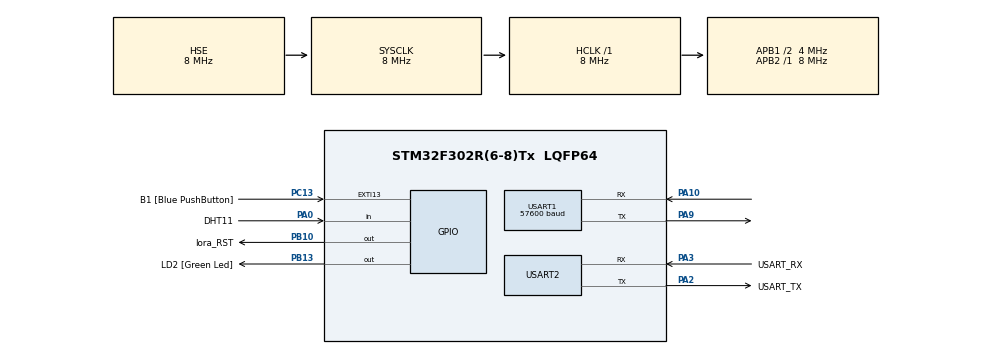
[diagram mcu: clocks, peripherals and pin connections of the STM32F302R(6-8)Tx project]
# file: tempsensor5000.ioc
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Mcu.Family=STM32F3
Mcu.Name=STM32F302R(6-8)Tx
Mcu.Package=LQFP64
NVIC.PriorityGroup=NVIC_PRIORITYGROUP_0
NVIC.RTC_WKUP_IRQn=true\:0\:0\:false\:false\:true\:true\:true\:true
PA0.GPIO_Label=DHT11
PA0.GPIO_PuPd=GPIO_PULLUP
PA0.Signal=GPIO_Input
PA10.Mode=Asynchronous
PA10.Signal=USART1_RX
PA13.GPIO_Label=TMS
PA13.Mode=Serial_Wire
PA13.Signal=SYS_JTMS-SWDIO
PA14.GPIO_Label=TCK
PA14.Mode=Serial_Wire
PA14.Signal=SYS_JTCK-SWCLK
PA2.GPIO_Label=USART_TX
PA2.GPIO_Mode=GPIO_MODE_AF_PP
PA2.GPIO_PuPd=GPIO_NOPULL
PA2.GPIO_Speed=GPIO_SPEED_FREQ_LOW
PA2.Mode=Asynchronous
PA2.Signal=USART2_TX
PA3.GPIO_Label=USART_RX
PA3.GPIO_Mode=GPIO_MODE_AF_PP
PA3.GPIO_PuPd=GPIO_NOPULL
PA3.GPIO_Speed=GPIO_SPEED_FREQ_LOW
PA3.Mode=Asynchronous
PA3.Signal=USART2_RX
PA9.Mode=Asynchronous
PA9.Signal=USART1_TX
PB10.GPIO_Label=lora_RST
PB10.Signal=GPIO_Output
PB13.GPIO_Label=LD2 [Green Led]
PB13.Signal=GPIO_Output
PB3.GPIO_Label=SWO
PB3.Mode=Trace_Asynchronous_SW
PB3.Signal=SYS_JTDO-TRACESWO
PC13.GPIO_Label=B1 [Blue PushButton]
PC13.GPIO_ModeDefaultEXTI=GPIO_MODE_IT_FALLING
PC13.Signal=GPXTI13
PC14\ -\ OSC32_IN.Mode=LSE-External-Oscillator
PC14\ -\ OSC32_IN.Signal=RCC_OSC32_IN
PC15\ -\ OSC32_OUT.Mode=LSE-External-Oscillator
PC15\ -\ OSC32_OUT.Signal=RCC_OSC32_OUT
PF0-OSC_IN.Mode=HSE-External-Clock-Source
PF0-OSC_IN.Signal=RCC_OSC_IN
PF1-OSC_OUT.Signal=RCC_OSC_OUT
ProjectManager.HeapSize=0x200
ProjectManager.StackSize=0x400
ProjectManager.TargetToolchain=CMake
RCC.AHBFreq_Value=8000000
RCC.APB1CLKDivider=RCC_HCLK_DIV2
RCC.APB1Freq_Value=4000000
RCC.APB1TimFreq_Value=8000000
RCC.APB2Freq_Value=8000000
RCC.APB2TimFreq_Value=8000000
RCC.CortexFreq_Value=8000000
RCC.HCLKFreq_Value=8000000
RCC.HSE_VALUE=8000000
RCC.HSI_VALUE=8000000
RCC.PLLM=8
RCC.PLLMUL=RCC_PLL_MUL16
RCC.PLLN=336
RCC.PLLP=RCC_PLLP_DIV4
RCC.PLLQ=7
RCC.PLLSourceVirtual=RCC_PLLSOURCE_HSE
RCC.RCC_PLLsource_Clock_Source_FROM_HSE=RCC_HSE_PREDIV_DIV2
RCC.SYSCLKFreq_VALUE=8000000
RCC.SYSCLKSourceVirtual=RCC_SYSCLKSOURCE_HSE
RCC.USBFreq_Value=64000000
RTC.WakeUpClock-WakeUp=RTC_WAKEUPCLOCK_CK_SPRE_16BITS
RTC.WakeUpCounter-WakeUp=19
TIM6.Prescaler=7
USART1.BaudRate=57600
USART1.VirtualMode-Asynchronous=VM_ASYNC
USART2.VirtualMode-Asynchronous=VM_ASYNC
VP_RTC_VS_RTC_Activate.Mode=RTC_Enabled
VP_RTC_VS_RTC_WakeUp_intern.Mode=WakeUp
VP_TIM6_VS_ClockSourceINT.Mode=Enable_Timer
board=NUCLEO-F302R8

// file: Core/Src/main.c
/* USER CODE BEGIN Header */
/**
  ******************************************************************************
  * @file           : main.c
  * @brief          : Main program body
  ******************************************************************************
  * @attention
  *
  * Copyright (c) 2025 STMicroelectronics.
  * All rights reserved.
  *
  * This software is licensed under terms that can be found in the LICENSE file
  * in the root directory of this software component.
  * If no LICENSE file comes with this software, it is provided AS-IS.
  *
  ******************************************************************************
  */
/* USER CODE END Header */
#include "main.h"
#include "rtc.h"
#include "tim.h"
#include "usart.h"
#include "gpio.h"

/* USER CODE BEGIN Includes */
#include "lora.h"
#include "sensor.h"
#include <stdio.h>
#include <string.h>

/* USER CODE END Includes */

/* USER CODE BEGIN PV */
uint8_t response = 0; // Variable to store the response from the DHT11 sensor
char msg[50]; // Buffer to store the message to be sent via UART
uint8_t payload[2]; // Buffer to store the data read from the DHT11 sensor
/* USER CODE END PV */

void SystemClock_Config(void);

int main(void)
{

  /* MCU Configuration--------------------------------------------------------*/

  /* Reset of all peripherals, Initializes the Flash interface and the Systick. */
  HAL_Init();

  /* Configure the system clock */
  SystemClock_Config();

  /* Initialize all configured peripherals */
  MX_GPIO_Init();
  MX_USART2_UART_Init();
  MX_USART1_UART_Init();
  MX_TIM6_Init();
  MX_RTC_Init();
  /* USER CODE BEGIN 2 */
  HAL_NVIC_DisableIRQ(RTC_WKUP_IRQn);
  if (Lora_SetupAndJoinOTAA(&huart1, lora_RST_GPIO_Port, lora_RST_Pin) == HAL_OK) {
    // Device is now connected and ready to send data
  }
  HAL_TIM_Base_Start(&htim6); // Start the timer

  /* USER CODE END 2 */

  /* Infinite loop */
  while (1)
  {

    /* USER CODE BEGIN 3 */

    response = startSensor(DHT11_GPIO_Port, DHT11_Pin); // Start the DHT11 sensor
    if(response == 1){
      ReadDHT11Data(DHT11_GPIO_Port, DHT11_Pin, payload); // Read the DHT11 data into the payload buffer
    }
    else if(response == 2){
      payload[0] = 0; // Set the first byte to 0 if the sensor did not respond correctly
      payload[1] = 0; // Set the second byte to 0 if the sensor did not respond correctly
    }
    Lora_SendTXRaw(payload,2); // Send the payload data via LoRa

    DEBUG_PRINT("Putting to sleep\n\r");
    HAL_NVIC_EnableIRQ(RTC_WKUP_IRQn);
    HAL_PWR_EnterSTOPMode(PWR_MAINREGULATOR_ON, PWR_SLEEPENTRY_WFI);
    HAL_NVIC_DisableIRQ(RTC_WKUP_IRQn);
    DEBUG_PRINT("Waking up\n\r");
    SystemClock_Config();
  }
  /* USER CODE END 3 */
}

void SystemClock_Config(void)
{
  RCC_OscInitTypeDef RCC_OscInitStruct = {0};
  RCC_ClkInitTypeDef RCC_ClkInitStruct = {0};
  RCC_PeriphCLKInitTypeDef PeriphClkInit = {0};

  /** Initializes the RCC Oscillators according to the specified parameters
  * in the RCC_OscInitTypeDef structure.
  */
  RCC_OscInitStruct.OscillatorType = RCC_OSCILLATORTYPE_LSI|RCC_OSCILLATORTYPE_HSE;
  RCC_OscInitStruct.HSEState = RCC_HSE_BYPASS;
  RCC_OscInitStruct.HSIState = RCC_HSI_ON;
  RCC_OscInitStruct.LSIState = RCC_LSI_ON;
  RCC_OscInitStruct.PLL.PLLState = RCC_PLL_NONE;
  if (HAL_RCC_OscConfig(&RCC_OscInitStruct) != HAL_OK)
  {
    Error_Handler();
  }

  /** Initializes the CPU, AHB and APB buses clocks
  */
  RCC_ClkInitStruct.ClockType = RCC_CLOCKTYPE_HCLK|RCC_CLOCKTYPE_SYSCLK
                              |RCC_CLOCKTYPE_PCLK1|RCC_CLOCKTYPE_PCLK2;
  RCC_ClkInitStruct.SYSCLKSource = RCC_SYSCLKSOURCE_HSE;
  RCC_ClkInitStruct.AHBCLKDivider = RCC_SYSCLK_DIV1;
  RCC_ClkInitStruct.APB1CLKDivider = RCC_HCLK_DIV2;
  RCC_ClkInitStruct.APB2CLKDivider = RCC_HCLK_DIV1;

  if (HAL_RCC_ClockConfig(&RCC_ClkInitStruct, FLASH_LATENCY_0) != HAL_OK)
  {
    Error_Handler();
  }
  PeriphClkInit.PeriphClockSelection = RCC_PERIPHCLK_USART1|RCC_PERIPHCLK_RTC;
  PeriphClkInit.Usart1ClockSelection = RCC_USART1CLKSOURCE_PCLK1;
  PeriphClkInit.RTCClockSelection = RCC_RTCCLKSOURCE_LSI;
  if (HAL_RCCEx_PeriphCLKConfig(&PeriphClkInit) != HAL_OK)
  {
    Error_Handler();
  }
}

void Error_Handler(void)
{
  __disable_irq();
  while (1)
  {
  }
}
